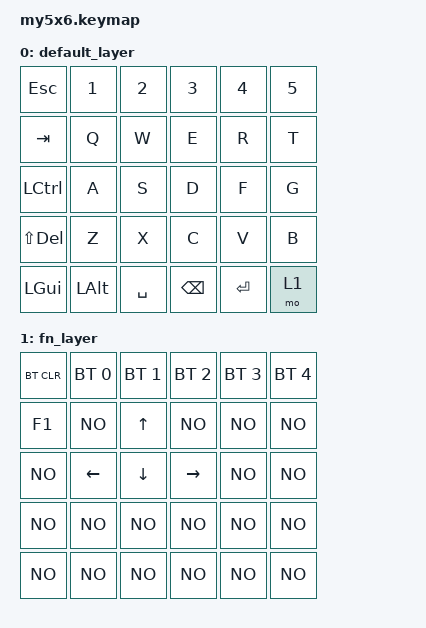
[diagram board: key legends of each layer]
/dts-v1/;
#include <behaviors.dtsi>
#include <dt-bindings/zmk/keys.h>
#include <dt-bindings/zmk/bt.h>

/ {
    keymap {
        compatible = "zmk,keymap";

        default_layer {
            bindings = <
                &kp ESC   &kp N1    &kp N2    &kp N3    &kp N4    &kp N5
                &kp TAB   &kp Q     &kp W     &kp E     &kp R     &kp T
                &kp LCTL  &kp A     &kp S     &kp D     &kp F     &kp G
                &kp LS(DEL) &kp Z   &kp X     &kp C     &kp V     &kp B
                &kp LGUI  &kp LALT  &kp SPACE &kp BSPC  &kp RET   &mo 1
            >;
        };

        fn_layer {
            bindings = <
                &bt BT_CLR &bt BT_SEL 0 &bt BT_SEL 1 &bt BT_SEL 2 &bt BT_SEL 3 &bt BT_SEL 4
                &kp F1     &kp NO       &kp UP       &kp NO       &kp NO       &kp NO
                &kp NO     &kp LEFT     &kp DOWN     &kp RIGHT    &kp NO       &kp NO
                &kp NO     &kp NO       &kp NO       &kp NO       &kp NO       &kp NO
                &kp NO     &kp NO       &kp NO       &kp NO       &kp NO       &kp NO
            >;
        };
    };
};
